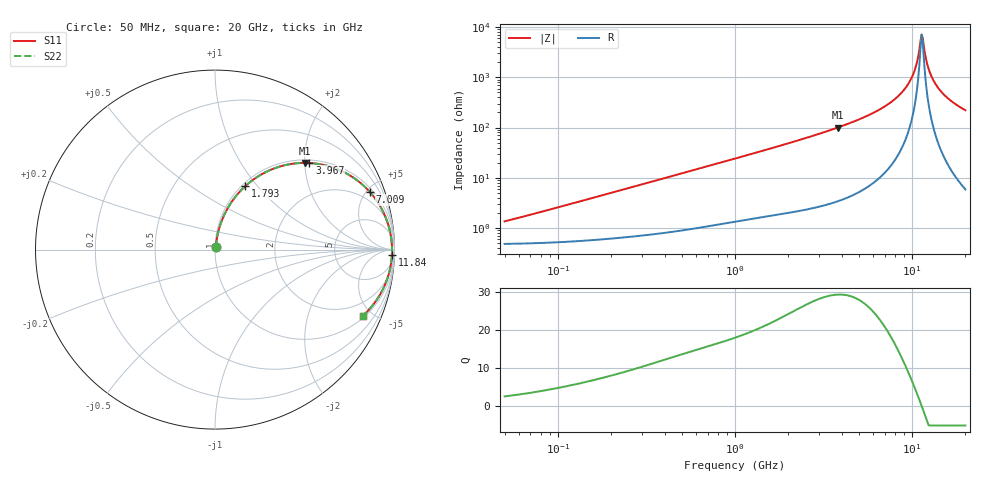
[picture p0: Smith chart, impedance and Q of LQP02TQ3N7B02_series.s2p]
!Murata Part Number: LQP02TQ3N7B02
!These Parameters are Measured in Series Mode Connection
!  o--[Z]--o
!Port1  Port2
!  o-------o
!Freq. Start=50[MHz] Stop=20[GHz], 401[Steps]
# Hz S RI R 50
!Freq.(Hz) S11(Real) S11(Imag) S21(Real) S21(Imag) S12(Real) S12(Imag) S22(Real) S22(Imag)
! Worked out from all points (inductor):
!   401 points, 50 MHz to 20 GHz, reference 50 ohm
!   read as one part in series: L = 4.04 nH near 58.08 MHz
!   highest Q = 29.4 at 3.793 GHz (marker M1), where L = 4.19 nH
!   self-resonance near 11.32 GHz
!   S11 on the Smith chart (normalised r, x): 50 MHz: 1.01, +0.03; 1.793 GHz: 1.04, +0.87; 3.967 GHz: 1.07, +2.11; 7.009 GHz: 1.25, +5.27; 11.84 GHz: 24, -53; 20 GHz: 1.12, -4.43
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5e7  0.00496 0.0126  0.995 -0.0126  0.995 -0.0126  0.00496 0.0126
1.364002e8  0.00667 0.0339  0.9933 -0.0339  0.9933 -0.0339  0.00667 0.0339
3.721004e8  0.0158 0.0893  0.9842 -0.0893  0.9842 -0.0893  0.0158 0.0893
1e9  0.0661 0.2223  0.9339 -0.2223  0.9339 -0.2223  0.0661 0.2223
1.793498e9  0.1692 0.3539  0.8308 -0.3539  0.8308 -0.3539  0.1692 0.3539
2.728004e9  0.3216 0.4492  0.6784 -0.4492  0.6784 -0.4492  0.3216 0.4492
3.792786e9  0.4991 0.4833  0.5009 -0.4833  0.5009 -0.4833  0.4991 0.4833
3.967106e9  0.5263 0.4826  0.4737 -0.4826  0.4737 -0.4826  0.5263 0.4826
5.433528e9  0.7226 0.4295  0.2774 -0.4295  0.2774 -0.4295  0.7226 0.4295
7.009217e9  0.863 0.3208  0.137 -0.3208  0.137 -0.3208  0.863 0.3208
7.442007e9  0.8901 0.2875  0.1099 -0.2875  0.1099 -0.2875  0.8901 0.2875
8.644534e9  0.9447 0.1939  0.0553 -0.1939  0.0553 -0.1939  0.9447 0.1939
9.745021e9  0.9728 0.1111  0.0272 -0.1111  0.0272 -0.1111  0.9728 0.1111
1.034674e10  0.9812 0.068  0.0188 -0.068  0.0188 -0.068  0.9812 0.068
1.115139e10  0.9861 0.0132  0.0139 -0.0132  0.0139 -0.0132  0.9861 0.0132
1.131968e10  0.9864 0.00217  0.0136 -0.00217  0.0136 -0.00217  0.9864 0.00217
1.149051e10  0.9864 -0.00884  0.0136 0.00884  0.0136 0.00884  0.9864 -0.00884
1.183995e10  0.9856 -0.0309  0.0144 0.0309  0.0144 0.0309  0.9856 -0.0309
1.257102e10  0.9812 -0.0747  0.0188 0.0747  0.0188 0.0747  0.9812 -0.0747
1.396067e10  0.964 -0.1498  0.036 0.1498  0.036 0.1498  0.964 -0.1498
1.621653e10  0.9197 -0.2501  0.0803 0.2501  0.0803 0.2501  0.9197 -0.2501
2e10  0.8242 -0.3676  0.1758 0.3676  0.1758 0.3676  0.8242 -0.3676
